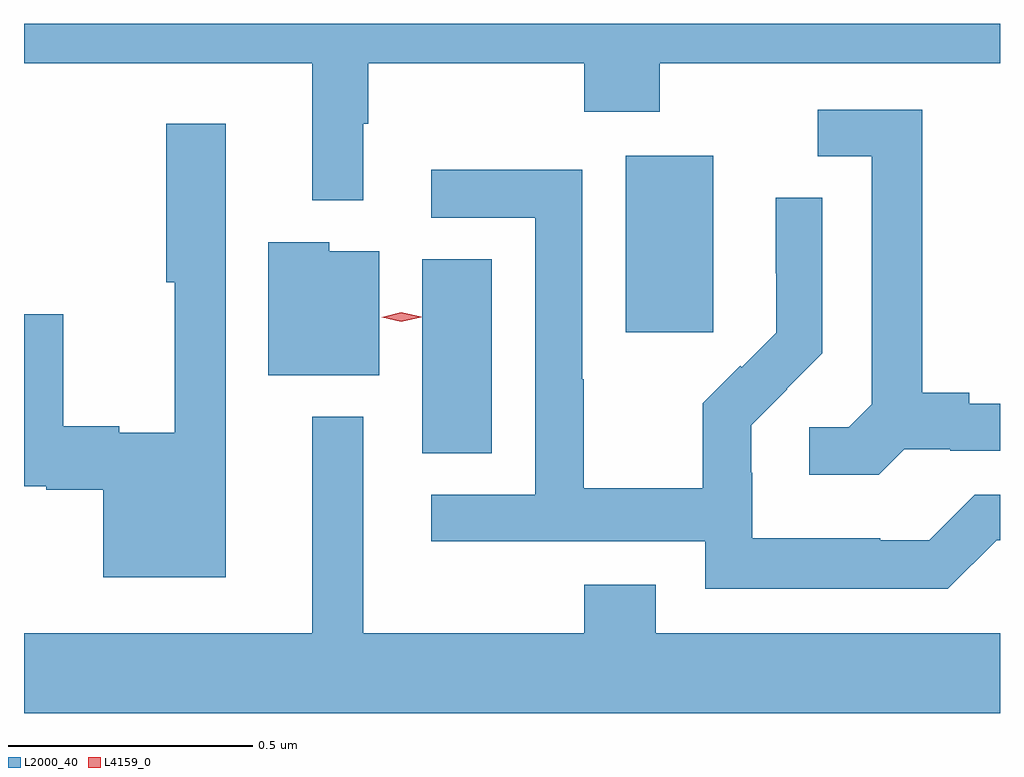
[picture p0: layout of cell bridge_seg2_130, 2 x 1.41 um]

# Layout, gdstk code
import gdstk
lib = gdstk.Library(unit=1e-6, precision=1e-09)
def R(c, l, rs):  # rectangles x0, y0, x1, y1
    for r in rs: c.add(gdstk.rectangle(r[:2], r[2:], *l))
def P(c, l, *ps):  # polygons
    for p in ps: c.add(gdstk.Polygon(p, *l))
L2000_40 = (2000, 40)
L4159_0 = (4159, 0)

bridge_seg2_130 = lib.new_cell('bridge_seg2_130')
R(bridge_seg2_130, L2000_40, [(445.292,597.553,445.435,597.95), (445.709,597.801,445.888,598.162)])
P(bridge_seg2_130, L2000_40, [(445.171,598.228),(445.181,598.228),(445.181,598.352),(445.624,598.352),(445.624,598.253),(445.779,598.253),(445.779,598.352),(446.476,598.352),(446.476,598.433),(444.476,598.433),(444.476,598.352),(445.067,598.352),(445.067,598.071),(445.171,598.071)],
  [(446.28,597.561),(446.374,597.561),(446.374,597.558),(446.476,597.558),(446.476,597.654),(446.413,597.654),(446.413,597.677),(446.317,597.677),(446.317,598.257),(446.103,598.257),(446.103,598.161),(446.213,598.161),(446.213,597.653),(446.166,597.606),(446.085,597.606),(446.085,597.509),(446.228,597.509)],
  [(444.889,598.228),(444.768,598.228),(444.768,597.903),(444.785,597.903),(444.785,597.595),(444.671,597.595),(444.671,597.608),(444.556,597.608),(444.556,597.838),(444.476,597.838),(444.476,597.485),(444.522,597.485),(444.522,597.478),(444.638,597.478),(444.638,597.299),(444.889,597.299)],
  [(446.469,597.375),(446.476,597.375),(446.476,597.468),(446.424,597.468),(446.331,597.375),(446.231,597.375),(446.231,597.379),(445.968,597.379),(445.968,597.513),(445.966,597.513),(445.966,597.61),(446.04,597.684),(446.039,597.685),(446.112,597.758),(446.112,598.076),(446.016,598.076),(446.016,597.922),(446.018,597.922),(446.018,597.8),(445.947,597.729),(445.944,597.732),(445.867,597.655),(445.867,597.481),(445.623,597.481),(445.623,597.704),(445.62,597.704),(445.62,598.134),(445.311,598.134),(445.311,598.035),(445.524,598.035),(445.524,597.468),(445.311,597.468),(445.311,597.372),(445.872,597.372),(445.872,597.275),(446.369,597.275)],
  [(445.204,597.967),(445.101,597.967),(445.101,597.985),(444.977,597.985),(444.977,597.713),(445.204,597.713)],
  [(446.476,597.184),(445.771,597.184),(445.771,597.283),(445.624,597.283),(445.624,597.184),(445.171,597.184),(445.171,597.628),(445.067,597.628),(445.067,597.184),(444.476,597.184),(444.476,597.02),(446.476,597.02)])
P(bridge_seg2_130, L4159_0, [(445.249,597.822),(445.209,597.832),(445.209,597.832),(445.209,597.832),(445.249,597.842),(445.29,597.833),(445.29,597.832),(445.29,597.832)])

lib.write_gds('bridge_seg2_130.gds')
